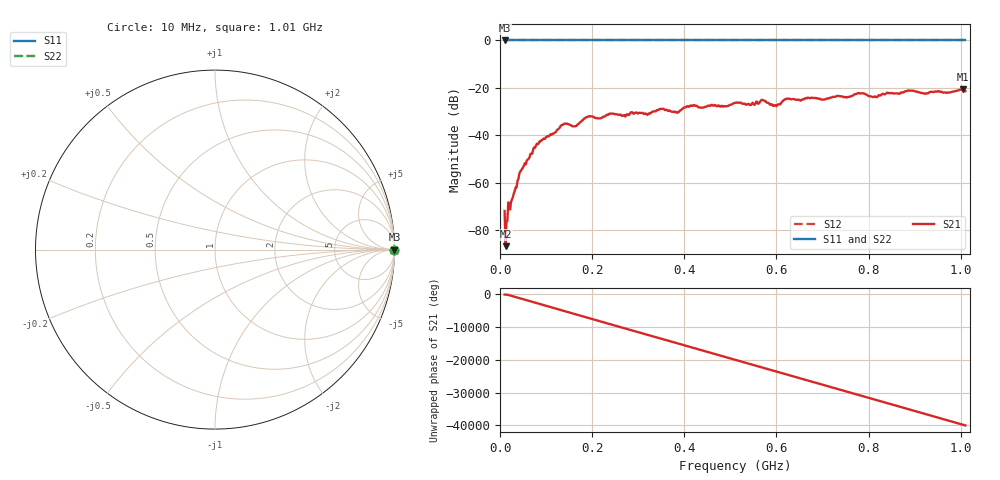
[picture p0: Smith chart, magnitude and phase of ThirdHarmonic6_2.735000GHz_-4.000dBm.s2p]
! 8/17/2025 6:44:56 AM
! C:\ANRITSUVNA\TEMP\TEMP.S2P
! CHANNEL.1
! TR.MEASUREMENT
! RAW.DATA
! RF.CORRECTION.OFF
! AVERAGING.OFF
! IF.BANDWIDTH: 5KHZ
! SWEEPTYPE:  FREQ.SWEEP(Linear)
! Reference Plane Port Info
! PORT:  PORT1  PORT2
! DISTANCE:  0  m  0  m
! TIME:  0  s  0  s
! PHASE.OFFSET:  0  deg.  0  deg.
! LOSS:  0  dB  0  dB
! REF.LOSS:  0  dB  0  dB
! REF.FREQ:  0  Hz  0  Hz
! Power Info
! POWER:  -20  dBm  -20  dBm
! EFF.POWER:  -20  dBm  -20  dBm
! SOURCE.ATTEN:  0  dB  0  dB
! TEST.ATTEN:  0  dB  0  dB
# GHZ S RI R 50.0
! FREQ.GHZ  S11RE  S11IM  S21RE  S21IM  S12RE  S12IM  S22RE  S22IM
!; PortSelection: Port_12
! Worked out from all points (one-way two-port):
!   501 points, 10 MHz to 1.01 GHz, reference 50 ohm
!   highest |S21| = -20.60 dB at 1.004 GHz (marker M1); lowest = -86.6 dB at 12 MHz (marker M2)
!   lowest |S11| = 0.0 dB at 10 MHz (marker M3)
!   |S11| at or under -10 dB: nowhere
!   |S22| runs from 0.0 to 0.0 dB; largest |S21 - S12| = 1.1
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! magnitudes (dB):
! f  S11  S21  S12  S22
! 10 MHz  0.0  -71.8  0.0  0.0
! 12 MHz  0.0  -86.6  0.0  0.0
! 16 MHz  0.0  -76.0  0.0  0.0
! 22 MHz  0.0  -71.2  0.0  0.0
! 44 MHz  0.0  -55.2  0.0  0.0
! 76 MHz  0.0  -45.2  0.0  0.0
! 136 MHz  0.0  -35.6  0.0  0.0
! 162 MHz  0.0  -36.1  0.0  0.0
! 178 MHz  0.0  -33.7  0.0  0.0
! 194 MHz  0.0  -31.9  0.0  0.0
! 322 MHz  0.0  -31.0  0.0  0.0
! 344 MHz  0.0  -29.3  0.0  0.0
! 384 MHz  0.0  -30.2  0.0  0.0
! 418 MHz  0.0  -27.6  0.0  0.0
! 510 MHz  0.0  -26.2  0.0  0.0
! 572 MHz  0.0  -25.3  0.0  0.0
! 596 MHz  0.0  -27.2  0.0  0.0
! 622 MHz  0.0  -24.5  0.0  0.0
! 678 MHz  0.0  -24.2  0.0  0.0
! 844 MHz  0.0  -22.2  0.0  0.0
! 1.004 GHz  0.0  -20.6  0.0  0.0
! 1.01 GHz  0.0  -21.3  0.0  0.0
